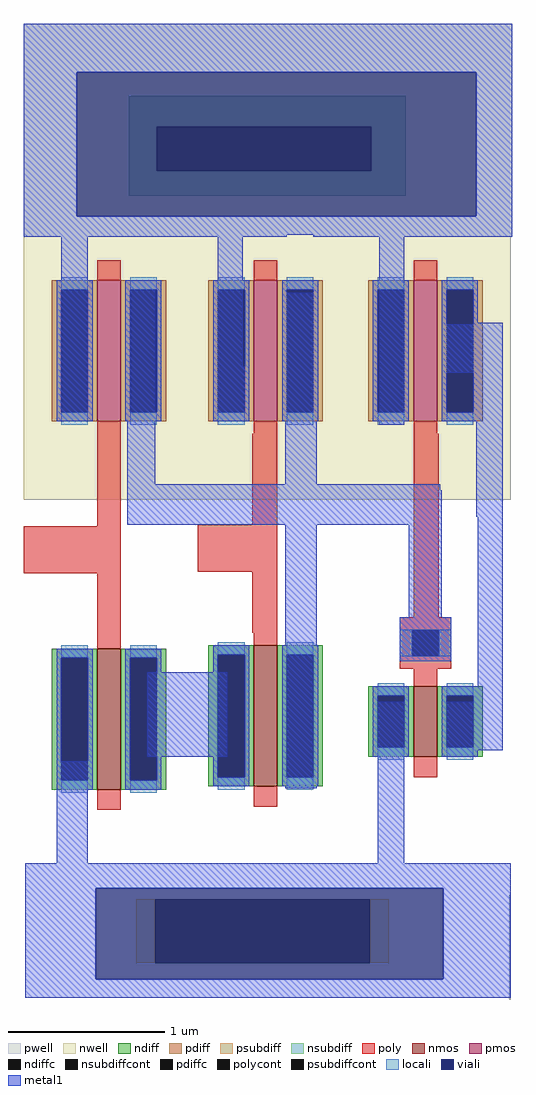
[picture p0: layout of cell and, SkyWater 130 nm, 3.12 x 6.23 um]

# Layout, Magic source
magic
tech sky130A
magscale 1 2
<< nwell >>
rect 0 336 624 608
<< pwell >>
rect 620 -638 622 -504
<< psubdiff >>
rect 144 -592 168 -510
rect 442 -592 466 -510
<< nsubdiff >>
rect 134 476 488 516
rect 134 420 170 476
rect 444 420 488 476
rect 134 388 488 420
<< psubdiffcont >>
rect 168 -592 442 -510
<< nsubdiffcont >>
rect 170 420 444 476
<< poly >>
rect 94 -34 124 90
rect 292 -32 324 84
rect 0 -94 124 -34
rect 222 -92 324 -32
rect 94 -170 124 -94
rect 292 -170 324 -92
rect 498 -150 530 84
rect 480 -216 546 -150
<< viali >>
rect 68 476 578 546
rect 68 420 170 476
rect 170 420 444 476
rect 444 420 578 476
rect 68 362 578 420
rect 92 -510 536 -496
rect 92 -592 168 -510
rect 168 -592 442 -510
rect 442 -592 536 -510
rect 92 -612 536 -592
<< metal1 >>
rect 0 546 624 608
rect 0 362 68 546
rect 578 362 624 546
rect 0 338 624 362
rect 0 336 336 338
rect 370 336 624 338
rect 48 100 82 336
rect 132 20 168 278
rect 248 170 280 336
rect 248 112 284 170
rect 248 108 280 112
rect 334 20 374 264
rect 454 96 486 336
rect 580 224 612 226
rect 538 162 612 224
rect 132 12 532 20
rect 132 -32 534 12
rect 578 -22 612 162
rect 158 -328 260 -220
rect 42 -464 82 -334
rect 334 -368 374 -32
rect 492 -150 534 -32
rect 480 -206 546 -150
rect 580 -258 612 -22
rect 452 -464 486 -258
rect 540 -320 612 -258
rect 2 -496 622 -464
rect 2 -612 92 -496
rect 536 -612 622 -496
rect 2 -636 622 -612
use sky130_fd_pr__nfet_01v8_P8KVP3  sky130_fd_pr__nfet_01v8_P8KVP3_0
transform 1 0 109 0 1 -280
box -73 -116 73 116
use sky130_fd_pr__nfet_01v8_P8KVP3  sky130_fd_pr__nfet_01v8_P8KVP3_1
transform 1 0 309 0 1 -276
box -73 -116 73 116
use sky130_fd_pr__nfet_01v8_J83WCX  sky130_fd_pr__nfet_01v8_J83WCX_0
transform 1 0 513 0 1 -252
box -73 -102 73 102
use sky130_fd_pr__pfet_01v8_BHXHFC  sky130_fd_pr__pfet_01v8_BHXHFC_0
transform 1 0 109 0 1 154
box -109 -154 109 188
use sky130_fd_pr__pfet_01v8_BHXHFC  sky130_fd_pr__pfet_01v8_BHXHFC_1
transform 1 0 309 0 1 154
box -109 -154 109 188
use sky130_fd_pr__pfet_01v8_BHXHFC  sky130_fd_pr__pfet_01v8_BHXHFC_2
transform 1 0 513 0 1 154
box -109 -154 109 188
<< end >>

# cell sky130_fd_pr__nfet_01v8_P8KVP3: kit device sky130_fd_pr__nfet_01v8, w 0.9 l 0.150 m 1 nf 1 diffcov 100 polycov 100 guard 0 glc 0 grc 0 gtc 0 gbc 0 tbcov 100 rlcov 100 topc 0 botc 0 poverlap 0 doverlap 1 lmin 0.15 wmin 0.42 compatible {sky130_fd_pr__nfet_01v8 sky130_fd_pr__nfet_01v8_lvt sky130_fd_bs_flash__special_sonosfet_star sky130_fd_pr__nfet_g5v0d10v5 sky130_fd_pr__nfet_05v0_nvt} full_metal 0 viasrc 100 viadrn 100 viagate 100 viagb 0 viagr 0 viagl 0 viagt 0

# cell sky130_fd_pr__nfet_01v8_J83WCX: kit device sky130_fd_pr__nfet_01v8, w 0.45 l 0.150 m 1 nf 1 diffcov 100 polycov 100 guard 0 glc 0 grc 0 gtc 0 gbc 0 tbcov 100 rlcov 100 topc 1 botc 0 poverlap 0 doverlap 1 lmin 0.15 wmin 0.42 compatible {sky130_fd_pr__nfet_01v8 sky130_fd_pr__nfet_01v8_lvt sky130_fd_bs_flash__special_sonosfet_star sky130_fd_pr__nfet_g5v0d10v5 sky130_fd_pr__nfet_05v0_nvt} full_metal 0 viasrc 100 viadrn 100 viagate 100 viagb 0 viagr 0 viagl 0 viagt 0

# cell sky130_fd_pr__pfet_01v8_BHXHFC: kit device sky130_fd_pr__pfet_01v8, w 0.9 l 0.15 m 1 nf 1 diffcov 100 polycov 100 guard 0 glc 0 grc 0 gtc 0 gbc 0 tbcov 100 rlcov 100 topc 0 botc 1 poverlap 0 doverlap 1 lmin 0.15 wmin 0.42 compatible {sky130_fd_pr__pfet_01v8 sky130_fd_pr__pfet_01v8_lvt sky130_fd_pr__pfet_01v8_hvt sky130_fd_pr__pfet_g5v0d10v5} full_metal 0 viasrc 100 viadrn 100 viagate 100 viagb 0 viagr 0 viagl 0 viagt 0
